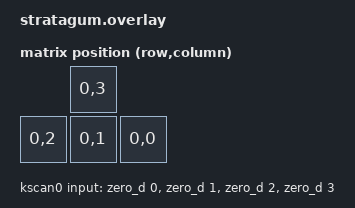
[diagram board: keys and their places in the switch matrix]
#include <dt-bindings/zmk/matrix_transform.h>

/ {
  kscan0: kscan0 {
    compatible = "zmk,kscan-gpio-direct";
    wakeup-source;

    input-gpios
      = <&zero_d 0 (GPIO_ACTIVE_LOW | GPIO_PULL_UP)>
      , <&zero_d 1 (GPIO_ACTIVE_LOW | GPIO_PULL_UP)>
      , <&zero_d 2 (GPIO_ACTIVE_LOW | GPIO_PULL_UP)>
      , <&zero_d 3 (GPIO_ACTIVE_LOW | GPIO_PULL_UP)>
      ;
  };

  default_transform: keymap_transform0 {
    compatible = "zmk,matrix-transform";
    columns = <3>;
    rows = <2>;
    // Physical map, in terms of "D" pin labels:
    //      D3
    //  D2  D1  D0
    map = <
              RC(0,3)
      RC(0,2) RC(0,1) RC(0,0)
    >;
  };

  physical_layout0: physical_layout0 {
    compatible = "zmk,physical-layout";
    display-name = "Default Layout";
    transform = <&default_transform>;
  };

  chosen {
    zmk,kscan = &kscan0;
    zmk,physical-layout = &physical_layout0;
  };
};
